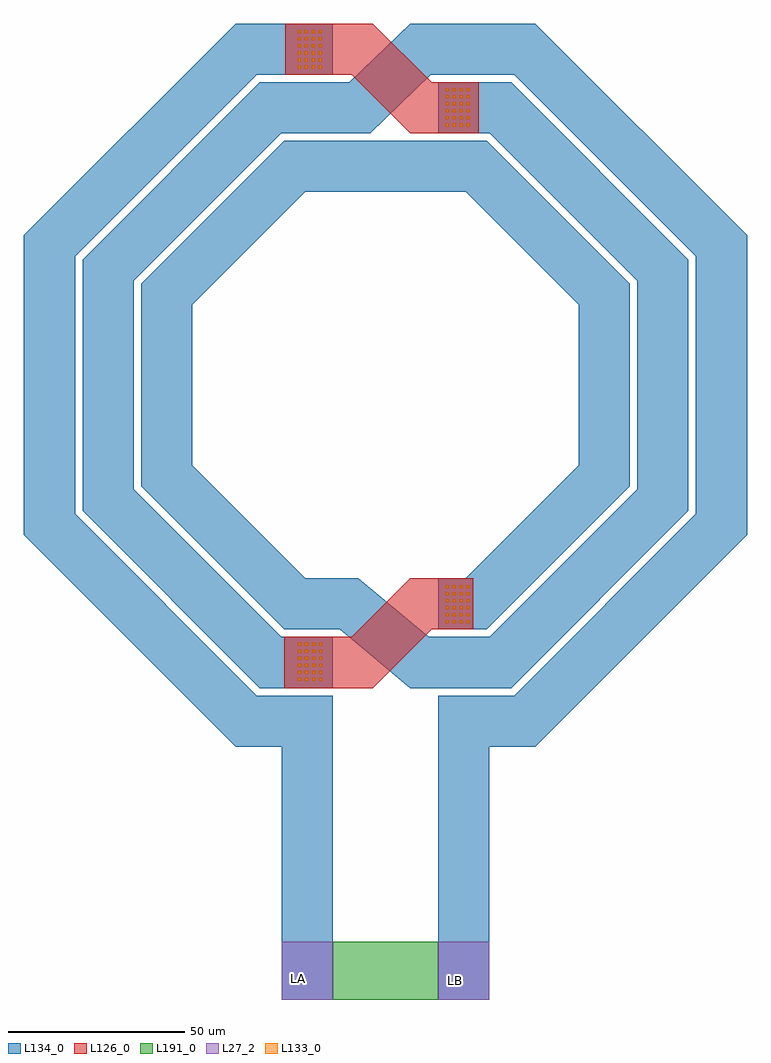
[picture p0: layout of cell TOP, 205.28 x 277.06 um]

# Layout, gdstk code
import gdstk
lib = gdstk.Library(unit=1e-6, precision=5e-09)
def R(c, l, rs):  # rectangles x0, y0, x1, y1
    for r in rs: c.add(gdstk.rectangle(r[:2], r[2:], *l))
def A(c, l, x, y, w, h, nx, ny, dx, dy):  # array of equal rectangles
    R(c, l, [(x+i*dx, y+j*dy, x+i*dx+w, y+j*dy+h) for i in range(nx) for j in range(ny)])
L27_2 = (27, 2)
L126_0 = (126, 0)
L133_0 = (133, 0)
L134_0 = (134, 0)
L191_0 = (191, 0)

balancedinductor = lib.new_cell('BalancedInductor')
balancedinductor.add(gdstk.FlexPath([(15,-95.39),(39.51,-95.39),(95.39,-39.51),(95.39,39.51),(39.51,95.39),(15,95.39)], 14.5, ends="flush", simple_path=True, layer=134, datatype=0))  # L134_0
balancedinductor.add(gdstk.FlexPath([(-15,-95.39),(-39.51,-95.39),(-95.39,-39.51),(-95.39,39.51),(-39.51,95.39),(-15,95.39)], 14.5, ends="flush", simple_path=True, layer=134, datatype=0))  # L134_0
balancedinductor.add(gdstk.FlexPath([(22.25,-88.14),(22.25,-174.415)], 14.5, ends="flush", simple_path=True, layer=134, datatype=0))  # L134_0
balancedinductor.add(gdstk.FlexPath([(-22.25,-88.14),(-22.25,-174.415)], 14.5, ends="flush", simple_path=True, layer=134, datatype=0))  # L134_0
balancedinductor.add(gdstk.FlexPath([(15,-78.76),(32.625,-78.76),(78.76,-32.625),(78.76,32.625),(32.625,78.76),(15,78.76)], 14.5, ends="flush", simple_path=True, layer=134, datatype=0))  # L134_0
balancedinductor.add(gdstk.FlexPath([(-15,-78.76),(-32.625,-78.76),(-78.76,-32.625),(-78.76,32.625),(-32.625,78.76),(-15,78.76)], 14.5, ends="flush", simple_path=True, layer=134, datatype=0))  # L134_0
balancedinductor.add(gdstk.FlexPath([(15,-62.13),(25.735,-62.13),(62.13,-25.735),(62.13,25.735),(25.735,62.13),(15,62.13)], 14.5, ends="flush", simple_path=True, layer=134, datatype=0))  # L134_0
balancedinductor.add(gdstk.FlexPath([(-15,-62.13),(-25.735,-62.13),(-62.13,-25.735),(-62.13,25.735),(-25.735,62.13),(-15,62.13)], 14.5, ends="flush", simple_path=True, layer=134, datatype=0))  # L134_0
balancedinductor.add(gdstk.FlexPath([(15,62.13),(-15,62.13)], 14.5, ends="flush", simple_path=True, layer=134, datatype=0))  # L134_0

top = lib.new_cell('TOP')
R(top, L27_2, [(-26.58,-168.185,-12.08,-151.85), (17.92,-168.185,32.42,-151.85)])
A(top, L133_0, -21.94, -77.765, 0.9, 0.9, 4, 6, 2, 2)
A(top, L133_0, 19.985, -61.43, 0.9, 0.9, 4, 6, 2, 2)
A(top, L133_0, 19.975, 79.625, 0.9, 0.9, 4, 6, 2, 2)
A(top, L133_0, -22.055, 96.07, 0.9, 0.9, 4, 6, 2, 2)
R(top, L191_0, [(-12.08,-168.185,17.92,-151.85)])
top.add(gdstk.FlexPath([(26.95,101.62),(12.815,101.62),(-4.39,84.99),(-26.02,84.99)], 14.5, ends="flush", simple_path=True, layer=134, datatype=0))  # L134_0
top.add(gdstk.FlexPath([(-18.275,-55.9),(-7.455,-55.9),(12.565,-72.52),(32.96,-72.52)], 14.5, ends="flush", simple_path=True, layer=134, datatype=0))  # L134_0
top.add(gdstk.FlexPath([(29.41,84.99),(13.005,84.99),(-3.67,101.62),(-25.5,101.62)], 14.5, ends="flush", simple_path=True, layer=126, datatype=0))  # L126_0
top.add(gdstk.FlexPath([(27.81,-55.9),(12.985,-55.9),(-3.64,-72.53),(-25.785,-72.53)], 14.5, ends="flush", simple_path=True, layer=126, datatype=0))  # L126_0
top.add(gdstk.Reference(balancedinductor, (2.92,6.23)))
top.add(gdstk.Label('LA', (-21.67,-162.245), layer=27, texttype=25))
top.add(gdstk.Label('LB', (22.81,-162.815), layer=27, texttype=25))
top.add(gdstk.Label('LA', (-21.67,-162.245), layer=27, texttype=25))

lib.write_gds('TOP.gds')
